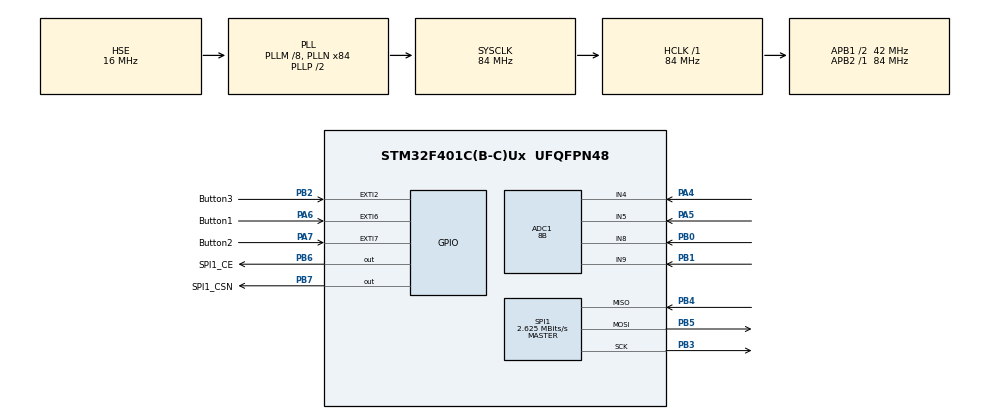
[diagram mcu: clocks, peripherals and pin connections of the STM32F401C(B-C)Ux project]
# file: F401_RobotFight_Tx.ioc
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ADC1.Channel-0\#ChannelRegularConversion=ADC_CHANNEL_4
ADC1.Channel-1\#ChannelRegularConversion=ADC_CHANNEL_5
ADC1.Channel-2\#ChannelRegularConversion=ADC_CHANNEL_8
ADC1.Channel-3\#ChannelRegularConversion=ADC_CHANNEL_9
ADC1.ContinuousConvMode=ENABLE
ADC1.DMAContinuousRequests=ENABLE
ADC1.NbrOfConversion=4
ADC1.NbrOfConversionFlag=1
ADC1.Rank-0\#ChannelRegularConversion=1
ADC1.Rank-1\#ChannelRegularConversion=2
ADC1.Rank-2\#ChannelRegularConversion=3
ADC1.Rank-3\#ChannelRegularConversion=4
ADC1.Resolution=ADC_RESOLUTION_8B
ADC1.SamplingTime-0\#ChannelRegularConversion=ADC_SAMPLETIME_84CYCLES
ADC1.SamplingTime-1\#ChannelRegularConversion=ADC_SAMPLETIME_84CYCLES
ADC1.SamplingTime-2\#ChannelRegularConversion=ADC_SAMPLETIME_84CYCLES
ADC1.SamplingTime-3\#ChannelRegularConversion=ADC_SAMPLETIME_84CYCLES
ADC1.ScanConvMode=ENABLE
ADC1.master=1
Dma.ADC1.0.Direction=DMA_PERIPH_TO_MEMORY
Dma.ADC1.0.FIFOMode=DMA_FIFOMODE_DISABLE
Dma.ADC1.0.Instance=DMA2_Stream0
Dma.ADC1.0.MemDataAlignment=DMA_MDATAALIGN_WORD
Dma.ADC1.0.MemInc=DMA_MINC_ENABLE
Dma.ADC1.0.Mode=DMA_CIRCULAR
Dma.ADC1.0.PeriphDataAlignment=DMA_PDATAALIGN_WORD
Dma.ADC1.0.PeriphInc=DMA_PINC_DISABLE
Dma.ADC1.0.Priority=DMA_PRIORITY_LOW
Dma.Request0=ADC1
Mcu.Family=STM32F4
Mcu.Name=STM32F401C(B-C)Ux
Mcu.Package=UFQFPN48
NVIC.DMA2_Stream0_IRQn=true\:0\:0\:false\:false\:true\:false\:true\:true
NVIC.EXTI2_IRQn=true\:0\:0\:false\:false\:true\:true\:true\:true
NVIC.EXTI9_5_IRQn=true\:0\:0\:false\:false\:true\:true\:true\:true
NVIC.PriorityGroup=NVIC_PRIORITYGROUP_4
PA13.Mode=Serial_Wire
PA13.Signal=SYS_JTMS-SWDIO
PA14.Mode=Serial_Wire
PA14.Signal=SYS_JTCK-SWCLK
PA4.Signal=ADCx_IN4
PA5.Signal=ADCx_IN5
PA6.GPIO_Label=Button1
PA6.GPIO_PuPd=GPIO_PULLUP
PA6.Signal=GPXTI6
PA7.GPIO_Label=Button2
PA7.GPIO_PuPd=GPIO_PULLUP
PA7.Signal=GPXTI7
PB0.Signal=ADCx_IN8
PB1.Signal=ADCx_IN9
PB2.GPIO_Label=Button3
PB2.GPIO_PuPd=GPIO_PULLUP
PB2.Signal=GPXTI2
PB3.Mode=Full_Duplex_Master
PB3.Signal=SPI1_SCK
PB4.Mode=Full_Duplex_Master
PB4.Signal=SPI1_MISO
PB5.Mode=Full_Duplex_Master
PB5.Signal=SPI1_MOSI
PB6.GPIO_Label=SPI1_CE
PB6.Signal=GPIO_Output
PB7.GPIO_Label=SPI1_CSN
PB7.Signal=GPIO_Output
PH0\ -\ OSC_IN.Mode=HSE-External-Oscillator
PH0\ -\ OSC_IN.Signal=RCC_OSC_IN
PH1\ -\ OSC_OUT.Mode=HSE-External-Oscillator
PH1\ -\ OSC_OUT.Signal=RCC_OSC_OUT
ProjectManager.HeapSize=0x200
ProjectManager.StackSize=0x400
ProjectManager.TargetToolchain=STM32CubeIDE
RCC.48MHZClocksFreq_Value=42000000
RCC.AHBFreq_Value=84000000
RCC.APB1CLKDivider=RCC_HCLK_DIV2
RCC.APB1Freq_Value=42000000
RCC.APB1TimFreq_Value=84000000
RCC.APB2Freq_Value=84000000
RCC.APB2TimFreq_Value=84000000
RCC.CortexFreq_Value=84000000
RCC.HCLKFreq_Value=84000000
RCC.HSE_VALUE=16000000
RCC.HSI_VALUE=16000000
RCC.LSE_VALUE=32768
RCC.PLLM=8
RCC.PLLN=84
RCC.PLLSourceVirtual=RCC_PLLSOURCE_HSE
RCC.SYSCLKFreq_VALUE=84000000
RCC.SYSCLKSource=RCC_SYSCLKSOURCE_PLLCLK
RCC.VCOOutputFreq_Value=168000000
SH.ADCx_IN4.0=ADC1_IN4,IN4
SH.ADCx_IN5.0=ADC1_IN5,IN5
SH.ADCx_IN8.0=ADC1_IN8,IN8
SH.ADCx_IN9.0=ADC1_IN9,IN9
SPI1.BaudRatePrescaler=SPI_BAUDRATEPRESCALER_32
SPI1.CalculateBaudRate=2.625 MBits/s
SPI1.Direction=SPI_DIRECTION_2LINES
SPI1.Mode=SPI_MODE_MASTER
SPI1.VirtualType=VM_MASTER
board=custom

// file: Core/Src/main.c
/* USER CODE BEGIN Header */
/**
  ******************************************************************************
  * @file           : main.c
  * @brief          : Main program body
  ******************************************************************************
  * @attention
  *
  * Copyright (c) 2024 STMicroelectronics.
  * All rights reserved.
  *
  * This software is licensed under terms that can be found in the LICENSE file
  * in the root directory of this software component.
  * If no LICENSE file comes with this software, it is provided AS-IS.
  *
  ******************************************************************************
  */
/* USER CODE END Header */
#include "main.h"
#include "adc.h"
#include "dma.h"
#include "spi.h"
#include "gpio.h"

/* USER CODE BEGIN Includes */

#include "NRF24L01.h"
#include "stdio.h"

/* USER CODE END Includes */

/* USER CODE BEGIN PM */

  	  /* nRF24L01 */

		uint8_t Rxaddr[5] = {'I','T','C','0','1'};
		uint8_t TxData[8] = {0};

  	  /* READ ADC */

		int ADC_Read[4] = {0};

		/* ADC JOYSTICK 1 */

			int Button1 = 0;
			int Joystick_x = 0;
			int Joystick_y = 0;
			int Omega = 0;
			int State_button = 0;
			int Switch = 0;
			long last_time = 0, current_time = 0;;

		/* ADC JOYSTICK 2 */

			int Button2 = 0;
			int Joystick_Vx = 0;
			int Joystick_Vy = 0;
			int Omega2 = 0;
			int State_button2 = 0;
			int Switch2 = 0;
			long last_time2 = 0, current_time2 = 0;;

		/* BUTTON BEBOUNCE */

			#define BUTTON1_PIN GPIO_PIN_6
			#define BUTTON1_PORT GPIOA
			#define BUTTON2_PIN GPIO_PIN_7
			#define BUTTON2_PORT GPIOA
			#define BUTTON3_PIN GPIO_PIN_2
			#define BUTTON3_PORT GPIOB

			#define DEBOUNCE_DELAY 200

			uint32_t previousMillis = 0;
			uint32_t currentMillis = 0;
			volatile uint32_t count[3] = {0};

/* USER CODE END PM */

void SystemClock_Config(void);
/* USER CODE BEGIN PFP */

/* MAP JOYSTICK */

	double map(double x, double in_min, double in_max, double out_min, double out_max) {
	  return (x - in_min) * (out_max - out_min) / (in_max - in_min) + out_min;
	}

	void nRF24l01_Master(){
		  TxData[0] = Joystick_x;
		  TxData[1] = Joystick_y;
		  TxData[2] = Joystick_Vx;
		  TxData[3] = Joystick_Vy;
		  TxData[4] = 6;
		  TxData[5] = 7;
		  TxData[6] = 8;
		  TxData[7] = 9;
			NRF24_Transmit(TxData, 8);//NRF24_Transmit(data, size)
			HAL_Delay(5);
	}

/* MAP JOYSTICK 1 */

	void Joystick() {
		  if (ADC_Read[1] >= 0 && ADC_Read[1] <= 120){
			  Joystick_x = map(ADC_Read[1], 0, 120, 0, 128);
		  }
		  if (ADC_Read[1] >= 132 && ADC_Read[0] <= 255){
			  Joystick_x = map(ADC_Read[1], 132, 255, 128, 255);
		  }
		  if (ADC_Read[1] > 120 && ADC_Read[1] < 132){
			  Joystick_x = 128;
		  }

		  if (ADC_Read[0] >= 0 && ADC_Read[0] <= 120){
			  Joystick_y = map(ADC_Read[0], 0, 120, 0, 128);
		  }
		  if (ADC_Read[0] >= 132 && ADC_Read[0] <= 255){
			  Joystick_y = map(ADC_Read[0], 132, 255, 128, 255);
		  }
		  if (ADC_Read[0] > 120 && ADC_Read[0] < 132){
			  Joystick_y = 128;
		  }

	}

/* MAP JOYSTICK 2 */

	void Joystick_1() {
		 if (ADC_Read[2] >= 0 && ADC_Read[2] <= 120){
				Joystick_Vx = map(ADC_Read[2], 0, 120, 0, 128);
		 }
		 if (ADC_Read[2] >= 135 && ADC_Read[2] <= 255){
				Joystick_Vx = map(ADC_Read[2], 135, 255, 128, 255);
		 }
		 if (ADC_Read[2] > 120 && ADC_Read[2] < 135){
				Joystick_Vx = 128;
		 }
		 if (ADC_Read[3] >= 0 && ADC_Read[3] <= 120){
				Joystick_Vy = map(ADC_Read[3], 0, 120, 0, 128);
		 }
		 if (ADC_Read[3] >= 130 && ADC_Read[3] <= 255){
				Joystick_Vy = map(ADC_Read[3], 130, 255, 128, 255);
		 }
		 if (ADC_Read[3] > 120 && ADC_Read[3] < 130){
				Joystick_Vy = 128;
		 }

	}

/* USER CODE END PFP */

int main(void)
{

  /* MCU Configuration--------------------------------------------------------*/

  /* Reset of all peripherals, Initializes the Flash interface and the Systick. */
  HAL_Init();

  /* Configure the system clock */
  SystemClock_Config();

  /* Initialize all configured peripherals */
  MX_GPIO_Init();
  MX_DMA_Init();
  MX_ADC1_Init();
  MX_SPI1_Init();
  /* USER CODE BEGIN 2 */

  /* nRF24L01 */

	  NRF24_Init();
	  NRF24_TxMode(Rxaddr, 112, 8);
  	  HAL_ADC_Start_DMA(&hadc1, &ADC_Read, 4);
	  HAL_Delay(50);

  /* USER CODE END 2 */

  /* Infinite loop */
  while (1)
  {

    /* USER CODE BEGIN 3 */

	  /* JOYSTICK */

		  Joystick();
		  Joystick_1();

	  /* DATA MASTER */

	      nRF24l01_Master();

  }
  /* USER CODE END 3 */
}

void SystemClock_Config(void)
{
  RCC_OscInitTypeDef RCC_OscInitStruct = {0};
  RCC_ClkInitTypeDef RCC_ClkInitStruct = {0};

  /** Configure the main internal regulator output voltage
  */
  __HAL_RCC_PWR_CLK_ENABLE();
  __HAL_PWR_VOLTAGESCALING_CONFIG(PWR_REGULATOR_VOLTAGE_SCALE2);

  /** Initializes the RCC Oscillators according to the specified parameters
  * in the RCC_OscInitTypeDef structure.
  */
  RCC_OscInitStruct.OscillatorType = RCC_OSCILLATORTYPE_HSE;
  RCC_OscInitStruct.HSEState = RCC_HSE_ON;
  RCC_OscInitStruct.PLL.PLLState = RCC_PLL_ON;
  RCC_OscInitStruct.PLL.PLLSource = RCC_PLLSOURCE_HSE;
  RCC_OscInitStruct.PLL.PLLM = 8;
  RCC_OscInitStruct.PLL.PLLN = 84;
  RCC_OscInitStruct.PLL.PLLP = RCC_PLLP_DIV2;
  RCC_OscInitStruct.PLL.PLLQ = 4;
  if (HAL_RCC_OscConfig(&RCC_OscInitStruct) != HAL_OK)
  {
    Error_Handler();
  }

  /** Initializes the CPU, AHB and APB buses clocks
  */
  RCC_ClkInitStruct.ClockType = RCC_CLOCKTYPE_HCLK|RCC_CLOCKTYPE_SYSCLK
                              |RCC_CLOCKTYPE_PCLK1|RCC_CLOCKTYPE_PCLK2;
  RCC_ClkInitStruct.SYSCLKSource = RCC_SYSCLKSOURCE_PLLCLK;
  RCC_ClkInitStruct.AHBCLKDivider = RCC_SYSCLK_DIV1;
  RCC_ClkInitStruct.APB1CLKDivider = RCC_HCLK_DIV2;
  RCC_ClkInitStruct.APB2CLKDivider = RCC_HCLK_DIV1;

  if (HAL_RCC_ClockConfig(&RCC_ClkInitStruct, FLASH_LATENCY_2) != HAL_OK)
  {
    Error_Handler();
  }
}

/* USER CODE BEGIN 4 */

	/* BUTTON BEBOUNCE */

		void HAL_GPIO_EXTI_Callback(uint16_t GPIO_Pin) {
		  currentMillis = HAL_GetTick();

		  if (GPIO_Pin == BUTTON1_PIN && (currentMillis - previousMillis > DEBOUNCE_DELAY)) {
			count[0]++;
			previousMillis = currentMillis;
		  }

		  if (GPIO_Pin == BUTTON2_PIN && (currentMillis - previousMillis > DEBOUNCE_DELAY)) {
			count[1]++;
			previousMillis = currentMillis;
		  }

		  if (GPIO_Pin == BUTTON3_PIN && (currentMillis - previousMillis > DEBOUNCE_DELAY)) {
			count[2]++;
			previousMillis = currentMillis;
		  }
		}

/* USER CODE END 4 */

void Error_Handler(void)
{
  __disable_irq();
  while (1)
  {
  }
}
